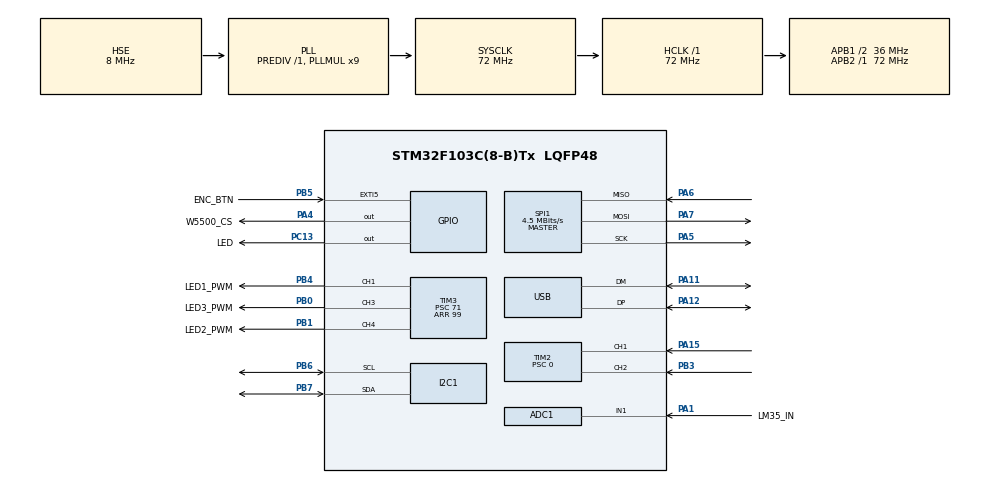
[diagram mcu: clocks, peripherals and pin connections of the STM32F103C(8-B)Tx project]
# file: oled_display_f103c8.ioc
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ADC1.Channel-7\#ChannelRegularConversion=ADC_CHANNEL_1
ADC1.NbrOfConversion=1
ADC1.NbrOfConversionFlag=1
ADC1.Rank-7\#ChannelRegularConversion=1
ADC1.SamplingTime-7\#ChannelRegularConversion=ADC_SAMPLETIME_71CYCLES_5
ADC1.master=1
I2C1.I2C_Mode=I2C_Fast
Mcu.Family=STM32F1
Mcu.Name=STM32F103C(8-B)Tx
Mcu.Package=LQFP48
NVIC.EXTI9_5_IRQn=true\:1\:0\:true\:false\:true\:true\:true
NVIC.PriorityGroup=NVIC_PRIORITYGROUP_4
NVIC.RCC_IRQn=true\:0\:0\:false\:false\:true\:true\:false
NVIC.TIM2_IRQn=true\:0\:0\:false\:false\:true\:true\:true
NVIC.USB_LP_CAN1_RX0_IRQn=true\:0\:0\:false\:false\:true\:false\:true
PA1.GPIO_Label=LM35_IN
PA1.Signal=ADCx_IN1
PA11.Mode=Device
PA11.Signal=USB_DM
PA12.Mode=Device
PA12.Signal=USB_DP
PA13.Mode=Serial_Wire
PA13.Signal=SYS_JTMS-SWDIO
PA14.Mode=Serial_Wire
PA14.Signal=SYS_JTCK-SWCLK
PA15.GPIO_PuPd=GPIO_NOPULL
PA15.Signal=S_TIM2_CH1_ETR
PA4.GPIO_Label=W5500_CS
PA4.Signal=GPIO_Output
PA5.Mode=Full_Duplex_Master
PA5.Signal=SPI1_SCK
PA6.Mode=Full_Duplex_Master
PA6.Signal=SPI1_MISO
PA7.Mode=Full_Duplex_Master
PA7.Signal=SPI1_MOSI
PB0.GPIO_Label=LED3_PWM
PB0.GPIO_Speed=GPIO_SPEED_FREQ_HIGH
PB0.Signal=S_TIM3_CH3
PB1.GPIO_Label=LED2_PWM
PB1.GPIO_Speed=GPIO_SPEED_FREQ_HIGH
PB1.Signal=S_TIM3_CH4
PB3.GPIO_PuPd=GPIO_NOPULL
PB3.Signal=S_TIM2_CH2
PB4.GPIO_Label=LED1_PWM
PB4.GPIO_Speed=GPIO_SPEED_FREQ_HIGH
PB4.Signal=S_TIM3_CH1
PB5.GPIO_Label=ENC_BTN
PB5.GPIO_ModeDefaultEXTI=GPIO_MODE_IT_FALLING
PB5.Signal=GPXTI5
PB6.Mode=I2C
PB6.Signal=I2C1_SCL
PB7.Mode=I2C
PB7.Signal=I2C1_SDA
PC13-TAMPER-RTC.GPIO_Label=LED
PC13-TAMPER-RTC.PinState=GPIO_PIN_SET
PC13-TAMPER-RTC.Signal=GPIO_Output
PD0-OSC_IN.Mode=HSE-External-Oscillator
PD0-OSC_IN.Signal=RCC_OSC_IN
PD1-OSC_OUT.Mode=HSE-External-Oscillator
PD1-OSC_OUT.Signal=RCC_OSC_OUT
ProjectManager.HeapSize=0x200
ProjectManager.StackSize=0x400
ProjectManager.TargetToolchain=STM32CubeIDE
RCC.ADCPresc=RCC_ADCPCLK2_DIV6
RCC.AHBFreq_Value=72000000
RCC.APB1CLKDivider=RCC_HCLK_DIV2
RCC.APB1Freq_Value=36000000
RCC.APB1TimFreq_Value=72000000
RCC.APB2Freq_Value=72000000
RCC.APB2TimFreq_Value=72000000
RCC.DATA_CACHE_ENABLE=1
RCC.HCLKFreq_Value=72000000
RCC.INSTRUCTION_CACHE_ENABLE=1
RCC.PLLMUL=RCC_PLL_MUL9
RCC.PLLSourceVirtual=RCC_PLLSOURCE_HSE
RCC.PWR_Regulator_Voltage_Scale=PWR_REGULATOR_VOLTAGE_SCALE1
RCC.SYSCLKFreq_VALUE=72000000
RCC.SYSCLKSource=RCC_SYSCLKSOURCE_PLLCLK
RCC.USBFreq_Value=48000000
RCC.USBPrescaler=RCC_USBCLKSOURCE_PLL_DIV1_5
SH.ADCx_IN1.0=ADC1_IN1,IN1
SH.S_TIM2_CH1_ETR.0=TIM2_CH1,Encoder_Interface
SH.S_TIM2_CH2.0=TIM2_CH2,Encoder_Interface
SH.S_TIM3_CH1.0=TIM3_CH1,PWM Generation1 CH1
SH.S_TIM3_CH3.0=TIM3_CH3,PWM Generation3 CH3
SH.S_TIM3_CH4.0=TIM3_CH4,PWM Generation4 CH4
SPI1.BaudRatePrescaler=SPI_BAUDRATEPRESCALER_16
SPI1.CalculateBaudRate=4.5 MBits/s
SPI1.Direction=SPI_DIRECTION_2LINES
SPI1.Mode=SPI_MODE_MASTER
SPI1.VirtualType=VM_MASTER
TIM2.EncoderMode=TIM_ENCODERMODE_TI12
TIM2.IC1Filter=0
TIM2.IC1Polarity=TIM_ICPOLARITY_RISING
TIM2.IC2Filter=2
TIM2.IC2Polarity=TIM_ICPOLARITY_RISING
TIM2.Prescaler=0
TIM3.Channel-PWM\ Generation1\ CH1=TIM_CHANNEL_1
TIM3.Channel-PWM\ Generation3\ CH3=TIM_CHANNEL_3
TIM3.Channel-PWM\ Generation4\ CH4=TIM_CHANNEL_4
TIM3.Period=99
TIM3.Prescaler=71
USB_DEVICE.APP_RX_DATA_SIZE=256
USB_DEVICE.APP_TX_DATA_SIZE=256
USB_DEVICE.CLASS_NAME_FS=CDC
USB_DEVICE.VirtualMode=Cdc
USB_DEVICE.VirtualModeFS=Cdc_FS
VP_USB_DEVICE_VS_USB_DEVICE_CDC_FS.Mode=CDC_FS
board=custom

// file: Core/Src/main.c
/* USER CODE BEGIN Header */
/**
  ******************************************************************************
  * @file           : main.c
  * @brief          : Main program body
  ******************************************************************************
  * @attention
  *
  * <h2><center>&copy; Copyright (c) 2024 STMicroelectronics.
  * All rights reserved.</center></h2>
  *
  * This software component is licensed by ST under BSD 3-Clause license,
  * the "License"; You may not use this file except in compliance with the
  * License. You may obtain a copy of the License at:
  *                        opensource.org/licenses/BSD-3-Clause
  *
  ******************************************************************************
  */
/* USER CODE END Header */
#include "main.h"
#include "usb_device.h"

/* USER CODE BEGIN Includes */
#include "stdio.h"
#include "malloc.h"
#include <stdlib.h>

#include "encoder.h"
#include "button.h"

#include "usbd_cdc_if.h"

/* SSD1306 */
#include "ssd1306.h"
#include "ssd1306_fonts.h"
/* SSD1306 */

/* W5500 */
#include "ethernet_module.h"
#include <string.h>
#include <stdbool.h>
#include <stdio.h>
/* W5500 */

/* USER CODE END Includes */

/* USER CODE BEGIN PD */

#define MAX_VALUE      100

/* USER CODE END PD */

ADC_HandleTypeDef hadc1;

I2C_HandleTypeDef hi2c1;

SPI_HandleTypeDef hspi1;

TIM_HandleTypeDef htim2;
TIM_HandleTypeDef htim3;

void SystemClock_Config(void);
static void MX_GPIO_Init(void);
static void MX_I2C1_Init(void);
static void MX_TIM2_Init(void);
static void MX_TIM3_Init(void);
static void MX_SPI1_Init(void);
static void MX_ADC1_Init(void);

int main(void)
{

  /* MCU Configuration--------------------------------------------------------*/

  /* Reset of all peripherals, Initializes the Flash interface and the Systick. */
  HAL_Init();

  /* Configure the system clock */
  SystemClock_Config();

  /* Initialize all configured peripherals */
  MX_GPIO_Init();
  MX_I2C1_Init();
  MX_TIM2_Init();
  MX_TIM3_Init();
  MX_SPI1_Init();
  MX_ADC1_Init();
  MX_USB_DEVICE_Init();
  /* USER CODE BEGIN 2 */

  // calibrate ADC
  HAL_ADCEx_Calibration_Start(&hadc1);

  // start timer for the encoder
  HAL_TIM_Encoder_Start_IT(&htim2, TIM_CHANNEL_ALL);

  // start timer for RGB LED PWM
  // errata 2.3.8, cannot use I2C1 and TIM3 CH2 at the same time
  if (HAL_TIM_PWM_Start(&htim3, TIM_CHANNEL_1) != HAL_OK) printf("TIM CH1 START FAIL\n"); // start PWM on PB4
  if (HAL_TIM_PWM_Start(&htim3, TIM_CHANNEL_3) != HAL_OK) printf("TIM CH3 START FAIL\n"); // start PWM on PB0
  if (HAL_TIM_PWM_Start(&htim3, TIM_CHANNEL_4) != HAL_OK) printf("TIM CH4 START FAIL\n"); // start PWM on PB5
  htim3.Instance->CCR1 = MAX_VALUE;         // set pwm to max (led off)
  htim3.Instance->CCR3 = MAX_VALUE;         // set pwm to max (led off)
  htim3.Instance->CCR4 = MAX_VALUE;         // set pwm to max (led off)

  // init I2C oled display
  ssd1306_Init();

  ssd1306_SetCursor(0, 0);
  ssd1306_WriteString("STM32 OLED Display", Font_7x10, White);
  ssd1306_SetCursor(0, 18);
  ssd1306_WriteString("", Font_7x10, White);
  ssd1306_UpdateScreen();

  printf("STM32 cdc printf\n");

  // init wiznet module
  W5500Init();

  /* USER CODE END 2 */

  /* Infinite loop */
  /* USER CODE BEGIN WHILE */
  char str[10];
  float widthFactor = 1.28;
  uint8_t rgbLedSelected = 0;
  int8_t redValue = 0;
  int8_t greenValue = 0;
  int8_t blueValue = 0;
  uint8_t selectedValue = 0;
  uint8_t forceUpdate = 1;

  while (1) {
    handleHtpServer();

    if (isButonPressed()) {
      if (++rgbLedSelected > 2) rgbLedSelected = 0;
      forceUpdate = 1;
      //HAL_GPIO_TogglePin(LED_GPIO_Port, LED_Pin);
    }

    if (isEncoderChanged() || forceUpdate) {
      forceUpdate = 0;
      uint16_t encoderDiff = getEncoderValueDiff();
      printf("prev: %d  curr: %d\n", getPrevEncoderValue(), getEncoderValue());

      switch (rgbLedSelected) {
        case 0: // green
          greenValue = greenValue + encoderDiff;
          if (greenValue > MAX_VALUE) greenValue = MAX_VALUE;
          if (greenValue < 0) greenValue = 0;
          htim3.Instance->CCR1 = MAX_VALUE - greenValue;
          selectedValue = greenValue;
          break;

        case 1: // red
          redValue = redValue + encoderDiff;
          if (redValue > MAX_VALUE) redValue = MAX_VALUE;
          if (redValue < 0) redValue = 0;
          htim3.Instance->CCR4 = MAX_VALUE - redValue;
          selectedValue = redValue;
          break;

        case 2: // blue
          blueValue = blueValue + encoderDiff;
          if (blueValue > MAX_VALUE) blueValue = MAX_VALUE;
          if (blueValue < 0) blueValue = 0;
          htim3.Instance->CCR3 = MAX_VALUE - blueValue;
          selectedValue = blueValue;
          break;
      }

      // draw a progress bar indicating the value
      ssd1306_FillRectangle(0, 23, SSD1306_WIDTH, 30, Black);
      ssd1306_FillRectangle(0, 23, selectedValue * widthFactor, 30, White);

      sprintf(str, "%-5d", selectedValue);
      ssd1306_SetCursor(0, 35);
      ssd1306_WriteString(str, Font_7x10, White);

      ssd1306_SetCursor(60, 35);
      switch(rgbLedSelected) {
        case 0:
          ssd1306_WriteString("Green", Font_7x10, White);
          break;
        case 1:
          ssd1306_WriteString("Red  ", Font_7x10, White);
          break;
        case 2:
          ssd1306_WriteString("Blue ", Font_7x10, White);
          break;
      }

      ssd1306_UpdateScreen();
    }

    // each second
    if (HAL_GetTick() % 1000 == 0) {
      HAL_ADC_Start(&hadc1);
      HAL_ADC_PollForConversion(&hadc1, 10);
      uint16_t adcRes = HAL_ADC_GetValue(&hadc1);

      // TODO multiplicar o ADC por 0,000805664 (3,3 ÷ (2^12))
      float temp = adcRes * 0.0805664;

      ssd1306_SetCursor(0, 45);
      sprintf(str, "%d", (uint16_t)temp);
      ssd1306_WriteString(str, Font_7x10, White);

      ssd1306_UpdateScreen();
    }

    //ssd1306_SetCursor(0, 45);
    //sprintf(str, "%d", HAL_GetTick() % 1000);
    //ssd1306_WriteString(str, Font_7x10, White);

    //counter++;
    /* USER CODE END WHILE */

  }
}

void SystemClock_Config(void)
{
  RCC_OscInitTypeDef RCC_OscInitStruct = {0};
  RCC_ClkInitTypeDef RCC_ClkInitStruct = {0};
  RCC_PeriphCLKInitTypeDef PeriphClkInit = {0};

  /** Initializes the RCC Oscillators according to the specified parameters
  * in the RCC_OscInitTypeDef structure.
  */
  RCC_OscInitStruct.OscillatorType = RCC_OSCILLATORTYPE_HSE;
  RCC_OscInitStruct.HSEState = RCC_HSE_ON;
  RCC_OscInitStruct.HSEPredivValue = RCC_HSE_PREDIV_DIV1;
  RCC_OscInitStruct.HSIState = RCC_HSI_ON;
  RCC_OscInitStruct.PLL.PLLState = RCC_PLL_ON;
  RCC_OscInitStruct.PLL.PLLSource = RCC_PLLSOURCE_HSE;
  RCC_OscInitStruct.PLL.PLLMUL = RCC_PLL_MUL9;
  if (HAL_RCC_OscConfig(&RCC_OscInitStruct) != HAL_OK)
  {
    Error_Handler();
  }
  /** Initializes the CPU, AHB and APB buses clocks
  */
  RCC_ClkInitStruct.ClockType = RCC_CLOCKTYPE_HCLK|RCC_CLOCKTYPE_SYSCLK
                              |RCC_CLOCKTYPE_PCLK1|RCC_CLOCKTYPE_PCLK2;
  RCC_ClkInitStruct.SYSCLKSource = RCC_SYSCLKSOURCE_PLLCLK;
  RCC_ClkInitStruct.AHBCLKDivider = RCC_SYSCLK_DIV1;
  RCC_ClkInitStruct.APB1CLKDivider = RCC_HCLK_DIV2;
  RCC_ClkInitStruct.APB2CLKDivider = RCC_HCLK_DIV1;

  if (HAL_RCC_ClockConfig(&RCC_ClkInitStruct, FLASH_LATENCY_2) != HAL_OK)
  {
    Error_Handler();
  }
  PeriphClkInit.PeriphClockSelection = RCC_PERIPHCLK_ADC|RCC_PERIPHCLK_USB;
  PeriphClkInit.AdcClockSelection = RCC_ADCPCLK2_DIV6;
  PeriphClkInit.UsbClockSelection = RCC_USBCLKSOURCE_PLL_DIV1_5;
  if (HAL_RCCEx_PeriphCLKConfig(&PeriphClkInit) != HAL_OK)
  {
    Error_Handler();
  }
}

static void MX_ADC1_Init(void)
{

  ADC_ChannelConfTypeDef sConfig = {0};

  /** Common config
  */
  hadc1.Instance = ADC1;
  hadc1.Init.ScanConvMode = ADC_SCAN_DISABLE;
  hadc1.Init.ContinuousConvMode = DISABLE;
  hadc1.Init.DiscontinuousConvMode = DISABLE;
  hadc1.Init.ExternalTrigConv = ADC_SOFTWARE_START;
  hadc1.Init.DataAlign = ADC_DATAALIGN_RIGHT;
  hadc1.Init.NbrOfConversion = 1;
  if (HAL_ADC_Init(&hadc1) != HAL_OK)
  {
    Error_Handler();
  }
  /** Configure Regular Channel
  */
  sConfig.Channel = ADC_CHANNEL_1;
  sConfig.Rank = ADC_REGULAR_RANK_1;
  sConfig.SamplingTime = ADC_SAMPLETIME_71CYCLES_5;
  if (HAL_ADC_ConfigChannel(&hadc1, &sConfig) != HAL_OK)
  {
    Error_Handler();
  }

}

static void MX_I2C1_Init(void)
{

  hi2c1.Instance = I2C1;
  hi2c1.Init.ClockSpeed = 400000;
  hi2c1.Init.DutyCycle = I2C_DUTYCYCLE_2;
  hi2c1.Init.OwnAddress1 = 0;
  hi2c1.Init.AddressingMode = I2C_ADDRESSINGMODE_7BIT;
  hi2c1.Init.DualAddressMode = I2C_DUALADDRESS_DISABLE;
  hi2c1.Init.OwnAddress2 = 0;
  hi2c1.Init.GeneralCallMode = I2C_GENERALCALL_DISABLE;
  hi2c1.Init.NoStretchMode = I2C_NOSTRETCH_DISABLE;
  if (HAL_I2C_Init(&hi2c1) != HAL_OK)
  {
    Error_Handler();
  }

}

static void MX_SPI1_Init(void)
{

  /* SPI1 parameter configuration*/
  hspi1.Instance = SPI1;
  hspi1.Init.Mode = SPI_MODE_MASTER;
  hspi1.Init.Direction = SPI_DIRECTION_2LINES;
  hspi1.Init.DataSize = SPI_DATASIZE_8BIT;
  hspi1.Init.CLKPolarity = SPI_POLARITY_LOW;
  hspi1.Init.CLKPhase = SPI_PHASE_1EDGE;
  hspi1.Init.NSS = SPI_NSS_SOFT;
  hspi1.Init.BaudRatePrescaler = SPI_BAUDRATEPRESCALER_16;
  hspi1.Init.FirstBit = SPI_FIRSTBIT_MSB;
  hspi1.Init.TIMode = SPI_TIMODE_DISABLE;
  hspi1.Init.CRCCalculation = SPI_CRCCALCULATION_DISABLE;
  hspi1.Init.CRCPolynomial = 10;
  if (HAL_SPI_Init(&hspi1) != HAL_OK)
  {
    Error_Handler();
  }

}

static void MX_TIM2_Init(void)
{

  TIM_Encoder_InitTypeDef sConfig = {0};
  TIM_MasterConfigTypeDef sMasterConfig = {0};

  htim2.Instance = TIM2;
  htim2.Init.Prescaler = 0;
  htim2.Init.CounterMode = TIM_COUNTERMODE_UP;
  htim2.Init.Period = 65535;
  htim2.Init.ClockDivision = TIM_CLOCKDIVISION_DIV1;
  htim2.Init.AutoReloadPreload = TIM_AUTORELOAD_PRELOAD_DISABLE;
  sConfig.EncoderMode = TIM_ENCODERMODE_TI12;
  sConfig.IC1Polarity = TIM_ICPOLARITY_RISING;
  sConfig.IC1Selection = TIM_ICSELECTION_DIRECTTI;
  sConfig.IC1Prescaler = TIM_ICPSC_DIV1;
  sConfig.IC1Filter = 0;
  sConfig.IC2Polarity = TIM_ICPOLARITY_RISING;
  sConfig.IC2Selection = TIM_ICSELECTION_DIRECTTI;
  sConfig.IC2Prescaler = TIM_ICPSC_DIV1;
  sConfig.IC2Filter = 2;
  if (HAL_TIM_Encoder_Init(&htim2, &sConfig) != HAL_OK)
  {
    Error_Handler();
  }
  sMasterConfig.MasterOutputTrigger = TIM_TRGO_RESET;
  sMasterConfig.MasterSlaveMode = TIM_MASTERSLAVEMODE_DISABLE;
  if (HAL_TIMEx_MasterConfigSynchronization(&htim2, &sMasterConfig) != HAL_OK)
  {
    Error_Handler();
  }

}

static void MX_TIM3_Init(void)
{

  TIM_MasterConfigTypeDef sMasterConfig = {0};
  TIM_OC_InitTypeDef sConfigOC = {0};

  htim3.Instance = TIM3;
  htim3.Init.Prescaler = 71;
  htim3.Init.CounterMode = TIM_COUNTERMODE_UP;
  htim3.Init.Period = 99;
  htim3.Init.ClockDivision = TIM_CLOCKDIVISION_DIV1;
  htim3.Init.AutoReloadPreload = TIM_AUTORELOAD_PRELOAD_DISABLE;
  if (HAL_TIM_PWM_Init(&htim3) != HAL_OK)
  {
    Error_Handler();
  }
  sMasterConfig.MasterOutputTrigger = TIM_TRGO_RESET;
  sMasterConfig.MasterSlaveMode = TIM_MASTERSLAVEMODE_DISABLE;
  if (HAL_TIMEx_MasterConfigSynchronization(&htim3, &sMasterConfig) != HAL_OK)
  {
    Error_Handler();
  }
  sConfigOC.OCMode = TIM_OCMODE_PWM1;
  sConfigOC.Pulse = 0;
  sConfigOC.OCPolarity = TIM_OCPOLARITY_HIGH;
  sConfigOC.OCFastMode = TIM_OCFAST_DISABLE;
  if (HAL_TIM_PWM_ConfigChannel(&htim3, &sConfigOC, TIM_CHANNEL_1) != HAL_OK)
  {
    Error_Handler();
  }
  if (HAL_TIM_PWM_ConfigChannel(&htim3, &sConfigOC, TIM_CHANNEL_3) != HAL_OK)
  {
    Error_Handler();
  }
  if (HAL_TIM_PWM_ConfigChannel(&htim3, &sConfigOC, TIM_CHANNEL_4) != HAL_OK)
  {
    Error_Handler();
  }
  HAL_TIM_MspPostInit(&htim3);

}

static void MX_GPIO_Init(void)
{
  GPIO_InitTypeDef GPIO_InitStruct = {0};

  /* GPIO Ports Clock Enable */
  __HAL_RCC_GPIOC_CLK_ENABLE();
  __HAL_RCC_GPIOD_CLK_ENABLE();
  __HAL_RCC_GPIOA_CLK_ENABLE();
  __HAL_RCC_GPIOB_CLK_ENABLE();

  /*Configure GPIO pin Output Level */
  HAL_GPIO_WritePin(LED_GPIO_Port, LED_Pin, GPIO_PIN_SET);

  /*Configure GPIO pin Output Level */
  HAL_GPIO_WritePin(W5500_CS_GPIO_Port, W5500_CS_Pin, GPIO_PIN_RESET);

  /*Configure GPIO pin : LED_Pin */
  GPIO_InitStruct.Pin = LED_Pin;
  GPIO_InitStruct.Mode = GPIO_MODE_OUTPUT_PP;
  GPIO_InitStruct.Pull = GPIO_NOPULL;
  GPIO_InitStruct.Speed = GPIO_SPEED_FREQ_LOW;
  HAL_GPIO_Init(LED_GPIO_Port, &GPIO_InitStruct);

  /*Configure GPIO pin : W5500_CS_Pin */
  GPIO_InitStruct.Pin = W5500_CS_Pin;
  GPIO_InitStruct.Mode = GPIO_MODE_OUTPUT_PP;
  GPIO_InitStruct.Pull = GPIO_NOPULL;
  GPIO_InitStruct.Speed = GPIO_SPEED_FREQ_LOW;
  HAL_GPIO_Init(W5500_CS_GPIO_Port, &GPIO_InitStruct);

  /*Configure GPIO pin : ENC_BTN_Pin */
  GPIO_InitStruct.Pin = ENC_BTN_Pin;
  GPIO_InitStruct.Mode = GPIO_MODE_IT_FALLING;
  GPIO_InitStruct.Pull = GPIO_NOPULL;
  HAL_GPIO_Init(ENC_BTN_GPIO_Port, &GPIO_InitStruct);

  /* EXTI interrupt init*/
  HAL_NVIC_SetPriority(EXTI9_5_IRQn, 1, 0);
  HAL_NVIC_EnableIRQ(EXTI9_5_IRQn);

}

/* USER CODE BEGIN 4 */
// https://github.com/alexeykosinov/Redirect-printf-to-USB-VCP-on-STM32H7-MCU
int _write(int file, char *ptr, int len) {
    CDC_Transmit_FS((uint8_t*) ptr, len); return len;
}
/* USER CODE END 4 */

void Error_Handler(void)
{
  /* USER CODE BEGIN Error_Handler_Debug */
  /* User can add his own implementation to report the HAL error return state */
  printf("ERROR \n");

  /* USER CODE END Error_Handler_Debug */
}

/************************ (C) COPYRIGHT STMicroelectronics *****END OF FILE****/
